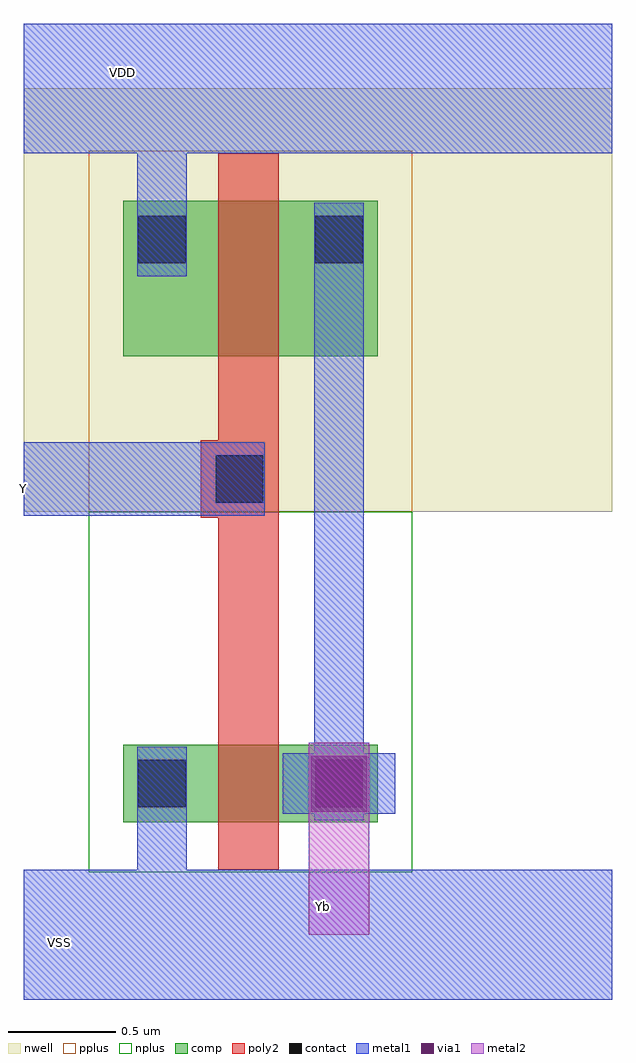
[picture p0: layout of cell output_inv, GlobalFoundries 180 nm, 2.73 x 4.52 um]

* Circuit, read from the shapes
.subckt output_inv VDD VSS Y Yb
XM1 Yb Y VSS VSUBS nfet_03v3 w=0.36u l=0.28u
XM2 Yb Y VDD n1 pfet_03v3 w=0.72u l=0.28u
.ends

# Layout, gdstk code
import gdstk
lib = gdstk.Library(unit=1e-6, precision=5e-09)
def R(c, l, rs):  # rectangles x0, y0, x1, y1
    for r in rs: c.add(gdstk.rectangle(r[:2], r[2:], *l))
nwell = (21, 0)
comp = (22, 0)
poly2 = (30, 0)
pplus = (31, 0)
nplus = (32, 0)
contact = (33, 0)
metal1 = (34, 0)
via1 = (35, 0)
metal2 = (36, 0)

output_inv = lib.new_cell('output_inv')
R(output_inv, nwell, [(-6.495,-0.22,-3.77,1.74)])
R(output_inv, comp, [(-6.035,-1.66,-4.855,-1.3), (-6.035,0.5,-4.855,1.22)])
R(output_inv, poly2, [(-5.595,-1.88,-5.315,-0.25), (-5.675,-0.25,-5.315,0.11), (-5.595,0.11,-5.315,1.44)])
R(output_inv, pplus, [(-6.195,-0.22,-4.695,1.45)])
R(output_inv, nplus, [(-6.195,-1.89,-4.695,-0.22)])
R(output_inv, contact, [(-5.965,-1.59,-5.745,-1.37), (-5.145,-1.59,-4.925,-1.37), (-5.605,-0.18,-5.385,0.04), (-5.965,0.93,-5.745,1.15), (-5.145,0.93,-4.925,1.15)])
R(output_inv, metal1, [(-6.495,-2.48,-3.77,-1.88), (-5.97,-1.88,-5.74,-1.31), (-5.15,-1.65,-4.92,1.21), (-5.295,-1.62,-4.775,-1.34), (-6.495,-0.24,-5.38,0.1), (-5.97,0.87,-5.74,1.44), (-6.495,1.44,-3.77,2.04)])
R(output_inv, via1, [(-5.165,-1.61,-4.905,-1.35)])
R(output_inv, metal2, [(-5.175,-2.18,-4.895,-1.29)])
output_inv.add(gdstk.Label('VDD', (-6.04,1.815), layer=34, texttype=10))
output_inv.add(gdstk.Label('VSS', (-6.33,-2.215), layer=34, texttype=10))
output_inv.add(gdstk.Label('Y', (-6.495,-0.115), layer=34, texttype=10))
output_inv.add(gdstk.Label('Yb', (-5.105,-2.05), layer=36, texttype=10))

lib.write_gds('output_inv.gds')
